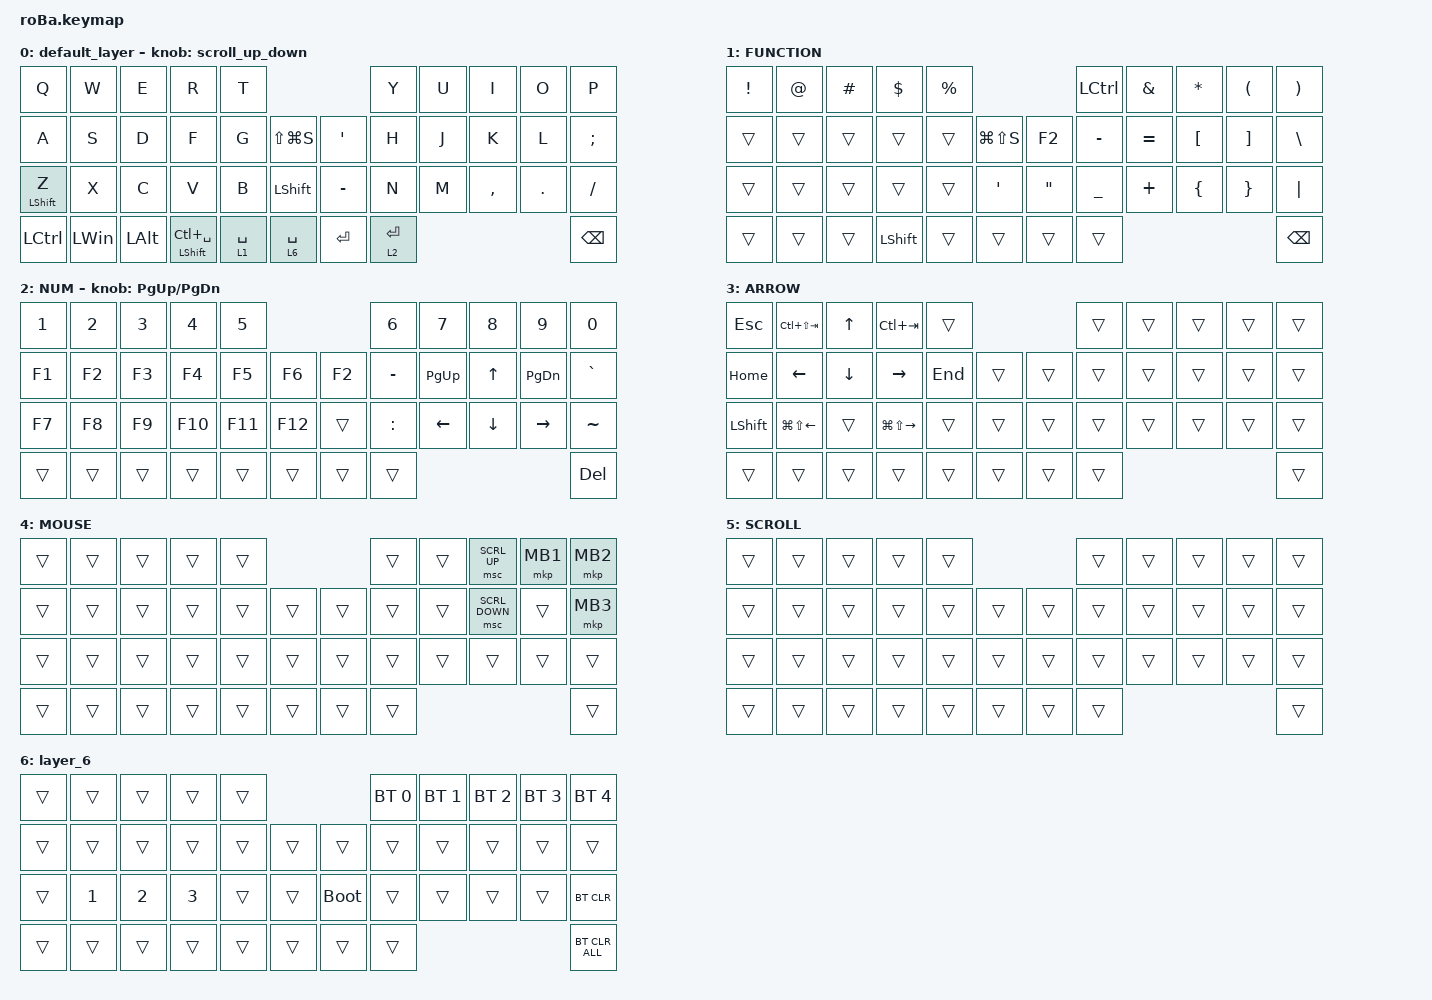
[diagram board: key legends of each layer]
#include <behaviors.dtsi>
#include <dt-bindings/zmk/bt.h>
#include <dt-bindings/zmk/keys.h>
#include <dt-bindings/zmk/pointing.h>

#define ZMK_POINTING_DEFAULT_SCRL_VAL 100
#define MOUSE 4
#define SCROLL 5
#define NUM 6

&mt {
    flavor = "balanced";
    quick-tap-ms = <0>;
};

/ {
    combos {
        compatible = "zmk,combos";

        tab {
            bindings = <&kp TAB>;
            key-positions = <10 11>;
        };

        shift_tab {
            bindings = <&kp LS(TAB)>;
            key-positions = <12 11>;
        };

        double_quotation {
            bindings = <&kp DOUBLE_QUOTES>;
            key-positions = <20 21>;
        };

        eq {
            bindings = <&kp ESCAPE>;
            key-positions = <0 1>;
        };

        backspace {
            bindings = <&kp BACKSPACE>;
            key-positions = <8 9>;
        };
    };

    macros {
        to_layer_0: to_layer_0 {
            compatible = "zmk,behavior-macro-one-param";
            #binding-cells = <1>;
            bindings = <&to 0 &macro_param_1to1 &kp MACRO_PLACEHOLDER>;
            label = "TO_LAYER_0";
        };
    };

    behaviors {
        lt_to_layer_0: lt_to_layer_0 {
            compatible = "zmk,behavior-hold-tap";
            label = "LAYER_TAP_TO_0";
            bindings = <&mo>, <&to_layer_0>;

            #binding-cells = <2>;
            tapping-term-ms = <200>;
        };

        scroll_up_down: scroll_up_down {
            compatible = "zmk,behavior-sensor-rotate";
            label = "SCROLL_UP_DOWN";
            #sensor-binding-cells = <0>;
            bindings = <&msc SCRL_UP>, <&msc SCRL_DOWN>;

            tap-ms = <20>;
        };
    };

    keymap {
        compatible = "zmk,keymap";

        default_layer {
            bindings = <
&kp Q             &kp W         &kp E         &kp R                     &kp T                                       &kp Y        &kp U  &kp I      &kp O    &kp P
&kp A             &kp S         &kp D         &kp F                     &kp G        &kp LS(LG(S))       &kp SQT    &kp H        &kp J  &kp K      &kp L    &kp SEMI
&mt LEFT_SHIFT Z  &kp X         &kp C         &kp V                     &kp B        &kp LEFT_SHIFT      &kp MINUS  &kp N        &kp M  &kp COMMA  &kp DOT  &kp SLASH
&kp LCTRL         &kp LEFT_WIN  &kp LEFT_ALT  &mt LEFT_SHIFT LC(SPACE)  &lt 1 SPACE  &lt 6 SPACE         &kp ENTER  &lt 2 ENTER                             &kp BACKSPACE
            >;

            sensor-bindings = <&scroll_up_down>;
        };

        FUNCTION {
            bindings = <
&kp EXCLAMATION  &kp AT_SIGN  &kp HASH  &kp DOLLAR      &kp PERCENT                                        &kp LCTRL       &kp AMPERSAND  &kp ASTERISK      &kp LEFT_PARENTHESIS  &kp RIGHT_PARENTHESIS
&trans           &trans       &trans    &trans          &trans       &kp LG(LS(S))      &kp F2             &kp MINUS       &kp EQUAL      &kp LEFT_BRACKET  &kp RIGHT_BRACKET     &kp BACKSLASH
&trans           &trans       &trans    &trans          &trans       &kp SQT            &kp DOUBLE_QUOTES  &kp UNDERSCORE  &kp PLUS       &kp LEFT_BRACE    &kp RIGHT_BRACE       &kp PIPE
&trans           &trans       &trans    &kp LEFT_SHIFT  &trans       &trans             &trans             &trans                                                                 &kp BACKSPACE
            >;
        };

        NUM {
            bindings = <
&kp NUMBER_1  &kp NUMBER_2  &kp NUMBER_3  &kp NUMBER_4  &kp NUMBER_5                       &kp NUMBER_6  &kp NUMBER_7    &kp NUMBER_8    &kp NUMBER_9     &kp NUMBER_0
&kp F1        &kp F2        &kp F3        &kp F4        &kp F5        &kp F6       &kp F2  &kp MINUS     &kp PAGE_UP     &kp UP_ARROW    &kp PAGE_DOWN    &kp GRAVE
&kp F7        &kp F8        &kp F9        &kp F10       &kp F11       &kp F12      &trans  &kp COLON     &kp LEFT_ARROW  &kp DOWN_ARROW  &kp RIGHT_ARROW  &kp TILDE
&trans        &trans        &trans        &trans        &trans        &trans       &trans  &trans                                                         &kp DELETE
            >;

            sensor-bindings = <&inc_dec_kp PAGE_UP PAGE_DOWN>;
        };

        ARROW {
            bindings = <
&kp ESCAPE      &kp LC(LS(TAB))         &kp UP_ARROW    &kp LC(TAB)              &trans                       &trans  &trans  &trans  &trans  &trans
&kp HOME        &kp LEFT_ARROW          &kp DOWN_ARROW  &kp RIGHT_ARROW          &kp END  &trans      &trans  &trans  &trans  &trans  &trans  &trans
&kp LEFT_SHIFT  &kp LG(LS(LEFT_ARROW))  &trans          &kp LG(LS(RIGHT_ARROW))  &trans   &trans      &trans  &trans  &trans  &trans  &trans  &trans
&trans          &trans                  &trans          &trans                   &trans   &trans      &trans  &trans                          &trans
            >;
        };

        MOUSE {
            bindings = <
&trans  &trans  &trans  &trans  &trans                      &trans  &trans  &msc SCRL_UP    &mkp MB1  &mkp MB2
&trans  &trans  &trans  &trans  &trans  &trans      &trans  &trans  &trans  &msc SCRL_DOWN  &trans    &mkp MB3
&trans  &trans  &trans  &trans  &trans  &trans      &trans  &trans  &trans  &trans          &trans    &trans
&trans  &trans  &trans  &trans  &trans  &trans      &trans  &trans                                    &trans
            >;
        };

        SCROLL {
            bindings = <
&trans  &trans  &trans  &trans  &trans                      &trans  &trans  &trans  &trans  &trans
&trans  &trans  &trans  &trans  &trans  &trans      &trans  &trans  &trans  &trans  &trans  &trans
&trans  &trans  &trans  &trans  &trans  &trans      &trans  &trans  &trans  &trans  &trans  &trans
&trans  &trans  &trans  &trans  &trans  &trans      &trans  &trans                          &trans
            >;
        };

        layer_6 {
            bindings = <
&trans  &trans        &trans        &trans        &trans                           &bt BT_SEL 0  &bt BT_SEL 1  &bt BT_SEL 2  &bt BT_SEL 3  &bt BT_SEL 4
&trans  &trans        &trans        &trans        &trans  &trans      &trans       &trans        &trans        &trans        &trans        &trans
&trans  &kp NUMBER_1  &kp NUMBER_2  &kp NUMBER_3  &trans  &trans      &bootloader  &trans        &trans        &trans        &trans        &bt BT_CLR
&trans  &trans        &trans        &trans        &trans  &trans      &trans       &trans                                                  &bt BT_CLR_ALL
            >;
        };
    };
};
